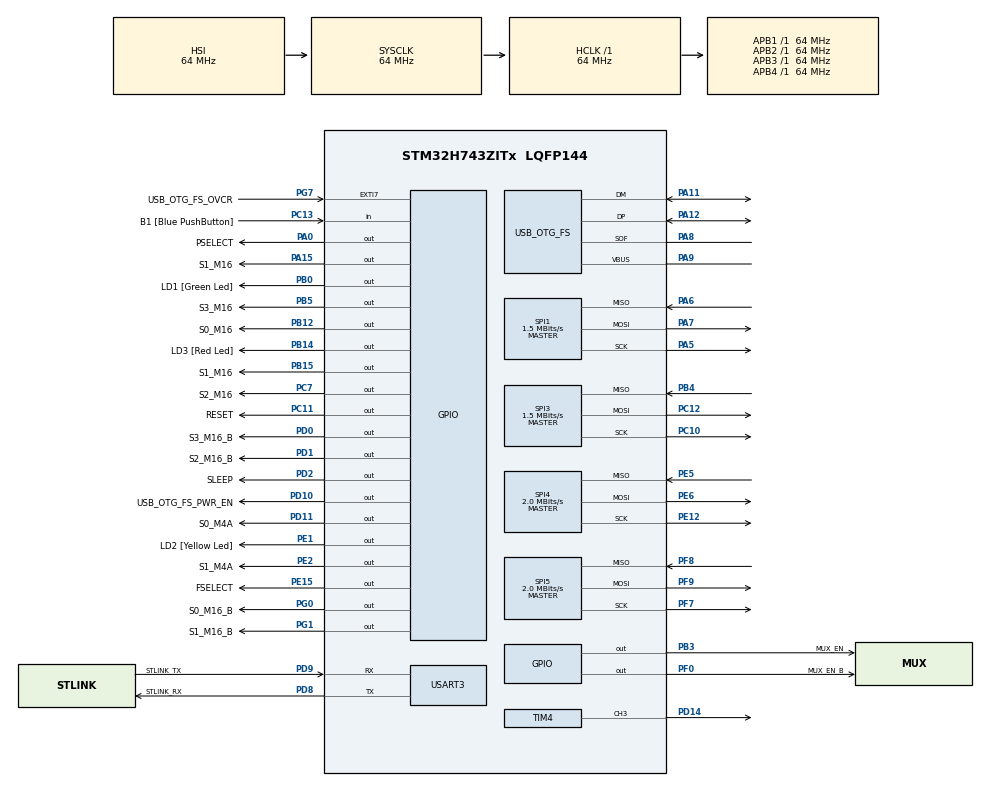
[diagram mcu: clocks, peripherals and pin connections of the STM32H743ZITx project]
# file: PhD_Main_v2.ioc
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Mcu.Family=STM32H7
Mcu.Name=STM32H743ZITx
Mcu.Package=LQFP144
NVIC.OTG_FS_IRQn=true\:0\:0\:false\:false\:true\:false\:true
NVIC.PriorityGroup=NVIC_PRIORITYGROUP_4
PA0.GPIO_Label=PSELECT
PA0.PinState=GPIO_PIN_RESET
PA0.Signal=GPIO_Output
PA1.Signal=ETH_REF_CLK
PA11.Mode=Device_Only
PA11.Signal=USB_OTG_FS_DM
PA12.Mode=Device_Only
PA12.Signal=USB_OTG_FS_DP
PA15\ (JTDI).GPIO_Label=S1_M16
PA15\ (JTDI).Signal=GPIO_Output
PA2.Signal=ETH_MDIO
PA5.GPIO_PuPd=GPIO_PULLDOWN
PA5.Mode=Full_Duplex_Master
PA5.Signal=SPI1_SCK
PA6.Mode=Full_Duplex_Master
PA6.Signal=SPI1_MISO
PA7.Mode=Full_Duplex_Master
PA7.Signal=SPI1_MOSI
PA8.Mode=Activate_SOF_FS
PA8.Signal=USB_OTG_FS_SOF
PA9.Mode=Activate_VBUS
PA9.Signal=USB_OTG_FS_VBUS
PB0.GPIO_Label=LD1 [Green Led]
PB0.Signal=GPIO_Output
PB12.GPIO_Label=S0_M16
PB12.Signal=GPIO_Output
PB13.Signal=ETH_TXD1
PB14.GPIO_Label=LD3 [Red Led]
PB14.Signal=GPIO_Output
PB15.GPIO_Label=S1_M16
PB15.Signal=GPIO_Output
PB3\ (JTDO/TRACESWO).GPIO_Label=MUX_EN
PB3\ (JTDO/TRACESWO).PinState=GPIO_PIN_SET
PB3\ (JTDO/TRACESWO).Signal=GPIO_Output
PB4\ (NJTRST).Mode=Full_Duplex_Master
PB4\ (NJTRST).Signal=SPI3_MISO
PB5.GPIO_Label=S3_M16
PB5.Signal=GPIO_Output
PC1.Signal=ETH_MDC
PC10.GPIO_PuPd=GPIO_PULLUP
PC10.Mode=Full_Duplex_Master
PC10.Signal=SPI3_SCK
PC11.GPIO_Label=RESET
PC11.PinState=GPIO_PIN_SET
PC11.Signal=GPIO_Output
PC12.Mode=Full_Duplex_Master
PC12.Signal=SPI3_MOSI
PC13.GPIO_Label=B1 [Blue PushButton]
PC13.Signal=GPIO_Input
PC14-OSC32_IN\ (OSC32_IN).Mode=LSE-External-Oscillator
PC14-OSC32_IN\ (OSC32_IN).Signal=RCC_OSC32_IN
PC15-OSC32_OUT\ (OSC32_OUT).Mode=LSE-External-Oscillator
PC15-OSC32_OUT\ (OSC32_OUT).Signal=RCC_OSC32_OUT
PC4.Signal=ETH_RXD0
PC5.Signal=ETH_RXD1
PC7.GPIO_Label=S2_M16
PC7.Signal=GPIO_Output
PD0.GPIO_Label=S3_M16_B
PD0.Signal=GPIO_Output
PD1.GPIO_Label=S2_M16_B
PD1.Signal=GPIO_Output
PD10.GPIO_Label=USB_OTG_FS_PWR_EN
PD10.Signal=GPIO_Output
PD11.GPIO_Label=S0_M4A
PD11.Signal=GPIO_Output
PD14.Signal=S_TIM4_CH3
PD2.GPIO_Label=SLEEP
PD2.PinState=GPIO_PIN_SET
PD2.Signal=GPIO_Output
PD8.GPIO_Label=STLINK_RX
PD8.Mode=Asynchronous
PD8.Signal=USART3_TX
PD9.GPIO_Label=STLINK_TX
PD9.Mode=Asynchronous
PD9.Signal=USART3_RX
PE1.GPIO_Label=LD2 [Yellow Led]
PE1.Signal=GPIO_Output
PE12.GPIO_PuPd=GPIO_PULLUP
PE12.Mode=Full_Duplex_Master
PE12.Signal=SPI4_SCK
PE15.GPIO_Label=FSELECT
PE15.Signal=GPIO_Output
PE2.GPIO_Label=S1_M4A
PE2.Signal=GPIO_Output
PE5.Mode=Full_Duplex_Master
PE5.Signal=SPI4_MISO
PE6.Mode=Full_Duplex_Master
PE6.Signal=SPI4_MOSI
PF0.GPIO_Label=MUX_EN_B
PF0.PinState=GPIO_PIN_SET
PF0.Signal=GPIO_Output
PF7.GPIO_PuPd=GPIO_PULLDOWN
PF7.Mode=Full_Duplex_Master
PF7.Signal=SPI5_SCK
PF8.Mode=Full_Duplex_Master
PF8.Signal=SPI5_MISO
PF9.Mode=Full_Duplex_Master
PF9.Signal=SPI5_MOSI
PG0.GPIO_Label=S0_M16_B
PG0.Signal=GPIO_Output
PG1.GPIO_Label=S1_M16_B
PG1.Signal=GPIO_Output
PG11.Signal=ETH_TX_EN
PG13.Signal=ETH_TXD0
PG7.GPIO_Label=USB_OTG_FS_OVCR
PG7.Signal=GPXTI7
PH0-OSC_IN\ (PH0).Mode=HSE-External-Clock-Source
PH0-OSC_IN\ (PH0).Signal=RCC_OSC_IN
PH1-OSC_OUT\ (PH1).Signal=RCC_OSC_OUT
ProjectManager.HeapSize=0x1000
ProjectManager.StackSize=0x400
ProjectManager.TargetToolchain=MDK-ARM V5.27
RCC.ADCFreq_Value=16125000
RCC.APB1Freq_Value=64000000
RCC.APB2Freq_Value=64000000
RCC.APB3Freq_Value=64000000
RCC.APB4Freq_Value=64000000
RCC.CortexFreq_Value=64000000
RCC.DIVM1=1
RCC.DIVN1=24
RCC.DIVQ1=4
RCC.HCLKFreq_Value=64000000
RCC.HSE_VALUE=8000000
RCC.PLLFRACN=0
RCC.SYSCLKFreq_VALUE=64000000
RCC.USBFreq_Value=48000000
SH.S_TIM4_CH3.0=TIM4_CH3,PWM Generation3 CH3
SPI1.BaudRatePrescaler=SPI_BAUDRATEPRESCALER_32
SPI1.CLKPhase=SPI_PHASE_2EDGE
SPI1.CLKPolarity=SPI_POLARITY_LOW
SPI1.CalculateBaudRate=1.5 MBits/s
SPI1.DataSize=SPI_DATASIZE_16BIT
SPI1.Direction=SPI_DIRECTION_2LINES
SPI1.Mode=SPI_MODE_MASTER
SPI1.VirtualType=VM_MASTER
SPI3.BaudRatePrescaler=SPI_BAUDRATEPRESCALER_32
SPI3.CLKPolarity=SPI_POLARITY_HIGH
SPI3.CalculateBaudRate=1.5 MBits/s
SPI3.DataSize=SPI_DATASIZE_16BIT
SPI3.Direction=SPI_DIRECTION_2LINES
SPI3.Mode=SPI_MODE_MASTER
SPI3.VirtualType=VM_MASTER
SPI4.BaudRatePrescaler=SPI_BAUDRATEPRESCALER_32
SPI4.CLKPhase=SPI_PHASE_1EDGE
SPI4.CLKPolarity=SPI_POLARITY_HIGH
SPI4.CalculateBaudRate=2.0 MBits/s
SPI4.DataSize=SPI_DATASIZE_16BIT
SPI4.Direction=SPI_DIRECTION_2LINES
SPI4.Mode=SPI_MODE_MASTER
SPI4.VirtualType=VM_MASTER
SPI5.BaudRatePrescaler=SPI_BAUDRATEPRESCALER_32
SPI5.CLKPhase=SPI_PHASE_2EDGE
SPI5.CLKPolarity=SPI_POLARITY_LOW
SPI5.CalculateBaudRate=2.0 MBits/s
SPI5.DataSize=SPI_DATASIZE_16BIT
SPI5.Direction=SPI_DIRECTION_2LINES
SPI5.Mode=SPI_MODE_MASTER
SPI5.VirtualType=VM_MASTER
TIM4.AutoReloadPreload=TIM_AUTORELOAD_PRELOAD_ENABLE
TIM4.Channel-PWM\ Generation3\ CH3=TIM_CHANNEL_3
TIM4.Period=63
TIM4.Pulse-PWM\ Generation3\ CH3=32
USART3.VirtualMode-Asynchronous=VM_ASYNC
USB_DEVICE.CLASS_NAME_FS=CDC
USB_DEVICE.VirtualMode-CDC_FS=Cdc
USB_DEVICE.VirtualModeFS=Cdc_FS
USB_OTG_FS.VirtualMode=Device_Only
VP_TIM4_VS_ClockSourceINT.Mode=Internal
VP_USB_DEVICE_VS_USB_DEVICE_CDC_FS.Mode=CDC_FS
board=NUCLEO-H743ZI2

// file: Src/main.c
/* USER CODE BEGIN Header */
/**
  ******************************************************************************
  * @file           : main.c
  * @brief          : Main program body
  ******************************************************************************
  * @attention
  *
  * <h2><center>&copy; Copyright (c) 2020 STMicroelectronics.
  * All rights reserved.</center></h2>
  *
  * This software component is licensed by ST under BSD 3-Clause license,
  * the "License"; You may not use this file except in compliance with the
  * License. You may obtain a copy of the License at:
  *                        opensource.org/licenses/BSD-3-Clause
  *
  ******************************************************************************
  */
/* USER CODE END Header */

#include "main.h"
#include "spi.h"
#include "tim.h"
#include "usart.h"
#include "usb_device.h"
#include "gpio.h"

/* USER CODE BEGIN Includes */

#include "AD9834.h"
#include "AD5270_71.h"
#include "mux.h"
//#include "matrix.h"
#include "defines.h"
#include "usbd_cdc_if.h"

/* USER CODE END Includes */

/* USER CODE BEGIN PV */

extern TIM_HandleTypeDef htim4;

/* USER CODE END PV */

void SystemClock_Config(void);

int main(void)
{

  /* MCU Configuration--------------------------------------------------------*/

  /* Reset of all peripherals, Initializes the Flash interface and the Systick. */
  HAL_Init();

  /* Configure the system clock */
  SystemClock_Config();

  /* Initialize all configured peripherals */
  MX_GPIO_Init();
  MX_SPI1_Init();
  MX_SPI3_Init();
  MX_SPI4_Init();
  MX_SPI5_Init();
  MX_USART3_UART_Init();
  MX_USB_DEVICE_Init();
  MX_TIM4_Init();
  /* USER CODE BEGIN 2 */

	uint8_t devices[NUM_DEVICES] = {0x03, 0x0B, 0x01, 0x09, 0x07, 0x05, 0x0F, 0x0D, 0x00, 0x02};

	mux_init();
	AD9834_global_init(devices);
	AD5270_71_global_init(devices);

	// Enable timer to generate clock signal (Master clock DDS)
	HAL_TIM_Base_Start(&htim4);
	HAL_TIM_PWM_Start(&htim4, TIM_CHANNEL_3);

	//AD9834_init();
	//AD5270_71_init();

	// matrix_init();

  /* USER CODE END 2 */

  /* Infinite loop */
  /* USER CODE BEGIN WHILE */

	write_RDAC(0x0D, 15000);
	write_RDAC(0x0F, 15000);
	write_RDAC(0x05, 15000);
	write_RDAC(0x07, 15000);
	write_RDAC(0x09, 15000);
	write_RDAC(0x0B, 15000);
	write_RDAC(0x01, 15000);
	write_RDAC(0x03, 15000);
	write_RDAC(0x00, 15000);
	write_RDAC(0x02, 15000);

  while (1)
  {
		uint8_t dataBuffer[PAYLOAD_SIZE];

		uint8_t numBytesReceived = 0;
		uint8_t ch;

		while (numBytesReceived < PAYLOAD_SIZE){
			// Read bytes one by one from the receive ring buffer
			if (CDC_Read_FS(&ch, 1) == 0){
				dataBuffer[numBytesReceived++] = ch;
			}
		}

		//
		uint8_t command = dataBuffer[COMMAND_PAYLOAD_OFFSET];

		switch(command){

			// Change settings specific speaker element
			case CHANGE_SPEAKER_SETTING:
			{
				uint8_t dev = dataBuffer[DEV_PAYLOAD_OFFSET];
				uint16_t frequency = dataBuffer[FREQ_MSB_PAYLOAD_OFFSET] << 8 | dataBuffer[FREQ_LSB_PAYLOAD_OFFSET];
				uint16_t phase = dataBuffer[PHASE_MSB_PAYLOAD_OFFSET] << 8 | dataBuffer[PHASE_LSB_PAYLOAD_OFFSET];
				uint16_t amplitude = dataBuffer[AMP_MSB_PAYLOAD_OFFSET] << 8 | dataBuffer[AMP_LSB_PAYLOAD_OFFSET];

				AD9834_set(dev, 0, frequency, phase);
				write_RDAC(dev, amplitude);

				// Send 'OK' if command is received
				uint8_t resp[11];
				sprintf(resp, "OK DEV(%d)\n", dev);
				CDC_Transmit_FS(resp, sizeof(resp));
			}
				break;

			// Disable (sleep) specific speaker element
			case DISABLE_SPEAKER:
			{
				uint8_t dev = dataBuffer[DEV_PAYLOAD_OFFSET];
				AD9834_disable(dev);
			}
				break;
			case CHANGE_SPEAKER_VGA:
			{
				uint8_t dev = dataBuffer[DEV_PAYLOAD_OFFSET];
				uint16_t frequency = dataBuffer[FREQ_MSB_PAYLOAD_OFFSET] << 8 | dataBuffer[FREQ_LSB_PAYLOAD_OFFSET];
				uint16_t phase = dataBuffer[PHASE_MSB_PAYLOAD_OFFSET] << 8 | dataBuffer[PHASE_LSB_PAYLOAD_OFFSET];
				uint16_t amplitude = dataBuffer[AMP_MSB_PAYLOAD_OFFSET] << 8 | dataBuffer[AMP_LSB_PAYLOAD_OFFSET];

				write_RDAC(dev, amplitude);

				// Send 'OK' if command is received
				uint8_t resp[11];
				sprintf(resp, "OK DEV(%d)\n", dev);
				CDC_Transmit_FS(resp, sizeof(resp));
			}
				break;
			case CHANGE_SPEAKER_FREQUENCY:
			{
				uint8_t dev = dataBuffer[DEV_PAYLOAD_OFFSET];
				uint16_t frequency = dataBuffer[FREQ_MSB_PAYLOAD_OFFSET] << 8 | dataBuffer[FREQ_LSB_PAYLOAD_OFFSET];
				uint16_t phase = dataBuffer[PHASE_MSB_PAYLOAD_OFFSET] << 8 | dataBuffer[PHASE_LSB_PAYLOAD_OFFSET];
				uint16_t amplitude = dataBuffer[AMP_MSB_PAYLOAD_OFFSET] << 8 | dataBuffer[AMP_LSB_PAYLOAD_OFFSET];

				setFrequencyRegister(dev, 0, frequency);

				// Send 'OK' if command is received
				uint8_t resp[11];
				sprintf(resp, "OK DEV(%d)\n", dev);
				CDC_Transmit_FS(resp, sizeof(resp));
			}
				break;
			case CHANGE_SPEAKER_PHASE:
			{
				uint8_t dev = dataBuffer[DEV_PAYLOAD_OFFSET];
				uint16_t frequency = dataBuffer[FREQ_MSB_PAYLOAD_OFFSET] << 8 | dataBuffer[FREQ_LSB_PAYLOAD_OFFSET];
				uint16_t phase = dataBuffer[PHASE_MSB_PAYLOAD_OFFSET] << 8 | dataBuffer[PHASE_LSB_PAYLOAD_OFFSET];
				uint16_t amplitude = dataBuffer[AMP_MSB_PAYLOAD_OFFSET] << 8 | dataBuffer[AMP_LSB_PAYLOAD_OFFSET];

				setPhaseRegister(dev, 0, phase);

				// Send 'OK' if command is received
				uint8_t resp[11];
				sprintf(resp, "OK DEV(%d)\n", dev);
				CDC_Transmit_FS(resp, sizeof(resp));
			}
				break;
			default:
				break;
		}

		// HAL_Delay(10);
//
//		/*
//		uint8_t test = 0;
//		uint8_t testBuffer[4] = {0};
//
//		uint8_t numBytes = 0;
//		bool endCharacter = false;
//
//		while (numBytes < 4 && !endCharacter){
//			if (CDC_Read_FS(&test, 1) == 0){
//				testBuffer[numBytes] = test;
//				numBytes++;
//
//				if (test == '\n'){
//					endCharacter = true;
//				}
//			}
//		}
//
//		CDC_Transmit_FS(testBuffer, sizeof(testBuffer));
//		HAL_Delay(1000);
//		*/
//
//		/*
//		if (CDC_Read_FS(&test, 1) == 0){
//			uint8_t buffer[] = "Hello, World!\r\n";
//			CDC_Transmit_FS(buffer, sizeof(buffer));
//
//		}
//		HAL_Delay(1000);
//		*/

//	setFrequencyRegister(0x0D, 0, 40000);
//	setFrequencyRegister(0x0F, 0, 40000);
//	setFrequencyRegister(0x05, 0, 40000);
//	setFrequencyRegister(0x07, 0, 40000);
//	setFrequencyRegister(0x09, 0, 40000);
//	setFrequencyRegister(0x0B, 0, 40000);
//	setFrequencyRegister(0x01, 0, 40000);
//	setFrequencyRegister(0x03, 0, 40000);
//	setFrequencyRegister(0x00, 0, 40000);
//	setFrequencyRegister(0x02, 0, 40000);
//
//	setPhaseRegister(0x03, 0, 0);

//	HAL_Delay(2000);
//
//	setPhaseRegister(0x01, 0, 90);
//	setPhaseRegister(0x09, 0, 90);
//	setPhaseRegister(0x0B, 0, 90);
//	setPhaseRegister(0x05, 0, 90);
//	setPhaseRegister(0x07, 0, 90);
//	setPhaseRegister(0x0D, 0, 90);
//	setPhaseRegister(0x0F, 0, 90);
//	setPhaseRegister(0x00, 0, 90);
//	setPhaseRegister(0x02, 0, 90);
//	HAL_Delay(2000);
//	setPhaseRegister(0x01, 0, 0);
//	setPhaseRegister(0x09, 0, 0);
//	setPhaseRegister(0x0B, 0, 0);
//	setPhaseRegister(0x05, 0, 0);
//	setPhaseRegister(0x07, 0, 0);
//	setPhaseRegister(0x0D, 0, 0);
//	setPhaseRegister(0x0F, 0, 0);
//	setPhaseRegister(0x00, 0, 0);
//	setPhaseRegister(0x02, 0, 0);
    /* USER CODE END WHILE */

  }
}

void SystemClock_Config(void)
{
  RCC_OscInitTypeDef RCC_OscInitStruct = {0};
  RCC_ClkInitTypeDef RCC_ClkInitStruct = {0};
  RCC_PeriphCLKInitTypeDef PeriphClkInitStruct = {0};

  /** Supply configuration update enable
  */
  HAL_PWREx_ConfigSupply(PWR_LDO_SUPPLY);
  /** Configure the main internal regulator output voltage
  */
  __HAL_PWR_VOLTAGESCALING_CONFIG(PWR_REGULATOR_VOLTAGE_SCALE3);

  while(!__HAL_PWR_GET_FLAG(PWR_FLAG_VOSRDY)) {}
  /** Initializes the CPU, AHB and APB busses clocks
  */
  RCC_OscInitStruct.OscillatorType = RCC_OSCILLATORTYPE_HSI|RCC_OSCILLATORTYPE_HSE;
  RCC_OscInitStruct.HSEState = RCC_HSE_BYPASS;
  RCC_OscInitStruct.HSIState = RCC_HSI_DIV1;
  RCC_OscInitStruct.HSICalibrationValue = RCC_HSICALIBRATION_DEFAULT;
  RCC_OscInitStruct.PLL.PLLState = RCC_PLL_ON;
  RCC_OscInitStruct.PLL.PLLSource = RCC_PLLSOURCE_HSE;
  RCC_OscInitStruct.PLL.PLLM = 1;
  RCC_OscInitStruct.PLL.PLLN = 24;
  RCC_OscInitStruct.PLL.PLLP = 2;
  RCC_OscInitStruct.PLL.PLLQ = 4;
  RCC_OscInitStruct.PLL.PLLR = 2;
  RCC_OscInitStruct.PLL.PLLRGE = RCC_PLL1VCIRANGE_3;
  RCC_OscInitStruct.PLL.PLLVCOSEL = RCC_PLL1VCOWIDE;
  RCC_OscInitStruct.PLL.PLLFRACN = 0;
  if (HAL_RCC_OscConfig(&RCC_OscInitStruct) != HAL_OK)
  {
    Error_Handler();
  }
  /** Initializes the CPU, AHB and APB busses clocks
  */
  RCC_ClkInitStruct.ClockType = RCC_CLOCKTYPE_HCLK|RCC_CLOCKTYPE_SYSCLK
                              |RCC_CLOCKTYPE_PCLK1|RCC_CLOCKTYPE_PCLK2
                              |RCC_CLOCKTYPE_D3PCLK1|RCC_CLOCKTYPE_D1PCLK1;
  RCC_ClkInitStruct.SYSCLKSource = RCC_SYSCLKSOURCE_HSI;
  RCC_ClkInitStruct.SYSCLKDivider = RCC_SYSCLK_DIV1;
  RCC_ClkInitStruct.AHBCLKDivider = RCC_HCLK_DIV1;
  RCC_ClkInitStruct.APB3CLKDivider = RCC_APB3_DIV1;
  RCC_ClkInitStruct.APB1CLKDivider = RCC_APB1_DIV1;
  RCC_ClkInitStruct.APB2CLKDivider = RCC_APB2_DIV1;
  RCC_ClkInitStruct.APB4CLKDivider = RCC_APB4_DIV1;

  if (HAL_RCC_ClockConfig(&RCC_ClkInitStruct, FLASH_LATENCY_0) != HAL_OK)
  {
    Error_Handler();
  }
  PeriphClkInitStruct.PeriphClockSelection = RCC_PERIPHCLK_USART3|RCC_PERIPHCLK_SPI5
                              |RCC_PERIPHCLK_SPI4|RCC_PERIPHCLK_SPI3
                              |RCC_PERIPHCLK_SPI1|RCC_PERIPHCLK_USB;
  PeriphClkInitStruct.Spi123ClockSelection = RCC_SPI123CLKSOURCE_PLL;
  PeriphClkInitStruct.Spi45ClockSelection = RCC_SPI45CLKSOURCE_D2PCLK1;
  PeriphClkInitStruct.Usart234578ClockSelection = RCC_USART234578CLKSOURCE_D2PCLK1;
  PeriphClkInitStruct.UsbClockSelection = RCC_USBCLKSOURCE_PLL;
  if (HAL_RCCEx_PeriphCLKConfig(&PeriphClkInitStruct) != HAL_OK)
  {
    Error_Handler();
  }
  /** Enable USB Voltage detector
  */
  HAL_PWREx_EnableUSBVoltageDetector();
}

void Error_Handler(void)
{
}

/************************ (C) COPYRIGHT STMicroelectronics *****END OF FILE****/
